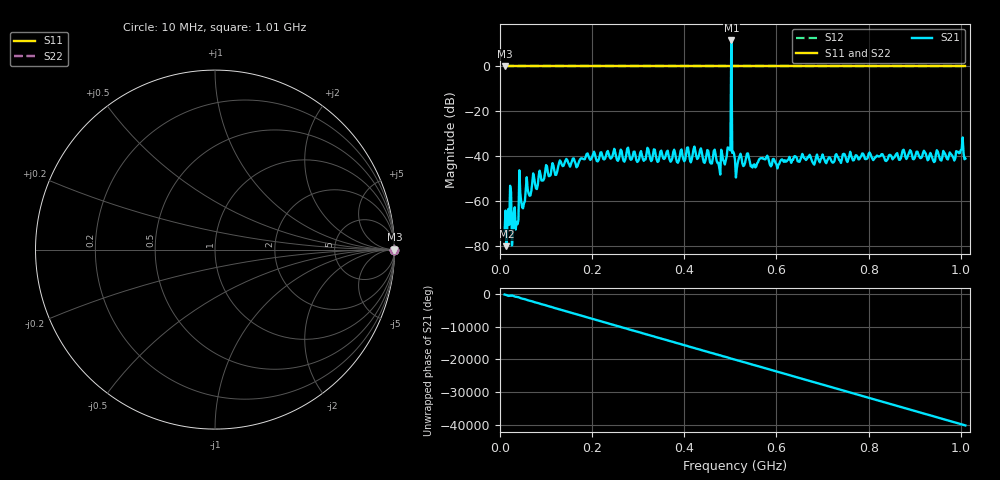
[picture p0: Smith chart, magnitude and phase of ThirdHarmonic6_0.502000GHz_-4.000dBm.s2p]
! 8/15/2025 3:06:24 PM
! C:\ANRITSUVNA\TEMP\TEMP.S2P
! CHANNEL.1
! TR.MEASUREMENT
! RAW.DATA
! RF.CORRECTION.OFF
! AVERAGING.OFF
! IF.BANDWIDTH: 5KHZ
! SWEEPTYPE:  FREQ.SWEEP(Linear)
! Reference Plane Port Info
! PORT:  PORT1  PORT2
! DISTANCE:  0  m  0  m
! TIME:  0  s  0  s
! PHASE.OFFSET:  0  deg.  0  deg.
! LOSS:  0  dB  0  dB
! REF.LOSS:  0  dB  0  dB
! REF.FREQ:  0  Hz  0  Hz
! Power Info
! POWER:  -20  dBm  -20  dBm
! EFF.POWER:  -20  dBm  -20  dBm
! SOURCE.ATTEN:  0  dB  0  dB
! TEST.ATTEN:  0  dB  0  dB
# GHZ S RI R 50.0
! FREQ.GHZ  S11RE  S11IM  S21RE  S21IM  S12RE  S12IM  S22RE  S22IM
!; PortSelection: Port_12
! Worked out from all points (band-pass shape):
!   501 points, 10 MHz to 1.01 GHz, reference 50 ohm
!   highest |S21| = 11.52 dB at 502 MHz (marker M1); lowest = -79.9 dB at 14 MHz (marker M2)
!   |S21| within 3 dB of the highest: 501.8772 MHz to 502.1201 MHz (242.8 kHz wide, 0.0484 % of centre)
!   lowest |S11| = 0.0 dB at 10 MHz (marker M3)
!   |S11| at or under -10 dB: nowhere
!   |S22| runs from 0.0 to 0.0 dB; largest |S21 - S12| = 3.6
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0.01  1 0  -0.00021 -3.55e-05  1 0  1 0
0.014  1 0  5.48e-05 8.46e-05  1 0  1 0
0.02  1 0  -0.000272 0.00013  1 0  1 0
0.03  1 0  0.000412 0.000394  1 0  1 0
0.046  1 0  -0.000237 0.000949  1 0  1 0
0.05  1 0  0.000672 -0.000194  1 0  1 0
0.072  1 0  -0.00409 0.000827  1 0  1 0
0.178  1 0  -0.00887 0.00164  1 0  1 0
0.344  1 0  0.00598 -0.00504  1 0  1 0
0.422  1 0  0.0104 0.0128  1 0  1 0
0.466  1 0  0.00262 0.0138  1 0  1 0
0.474  1 0  -0.00534 0.0048  1 0  1 0
0.496  1 0  0.0125 -0.00919  1 0  1 0
0.498  1 0  -0.00797 -0.012  1 0  1 0
0.502  1 0  0.9458 3.647  1 0  1 0
0.506  1 0  -0.0028 -0.0124  1 0  1 0
0.508  1 0  -0.011 0.00277  1 0  1 0
0.51  1 0  0.00168 0.00803  1 0  1 0
0.678  1 0  -0.00666 -0.00339  1 0  1 0
0.844  1 0  0.00812 0.00675  1 0  1 0
1.002  1 0  -0.0117 0.00868  1 0  1 0
1.01  1 0  -0.00889 -0.000363  1 0  1 0
